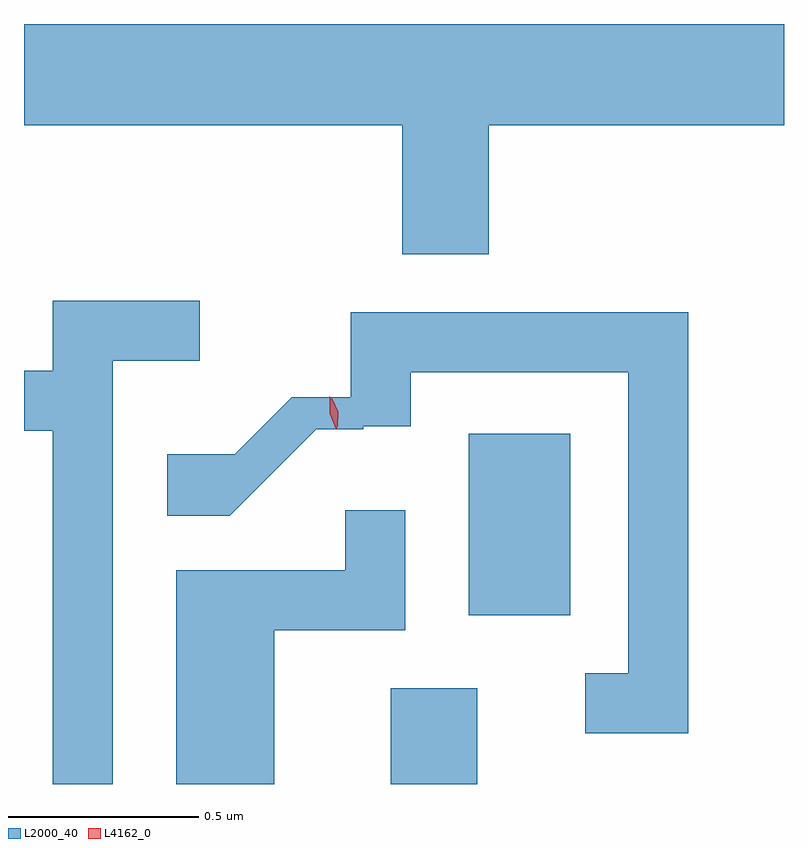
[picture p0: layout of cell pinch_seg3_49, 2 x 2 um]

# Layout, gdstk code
import gdstk
lib = gdstk.Library(unit=1e-6, precision=1e-09)
def R(c, l, rs):  # rectangles x0, y0, x1, y1
    for r in rs: c.add(gdstk.rectangle(r[:2], r[2:], *l))
def P(c, l, *ps):  # polygons
    for p in ps: c.add(gdstk.Polygon(p, *l))
L2000_40 = (2000, 40)
L4162_0 = (4162, 0)

pinch_seg3_49 = lib.new_cell('pinch_seg3_49')
R(pinch_seg3_49, L2000_40, [(1875.281,1219.742,1875.509,1219.994), (1875.486,1220.186,1875.754,1220.664)])
P(pinch_seg3_49, L2000_40, [(1875.539,1221.476),(1876.316,1221.476),(1876.316,1221.742),(1874.316,1221.742),(1874.316,1221.476),(1875.311,1221.476),(1875.311,1221.136),(1875.539,1221.136)],
  [(1874.549,1220.856),(1874.778,1220.856),(1874.778,1221.014),(1874.391,1221.014),(1874.391,1220.829),(1874.316,1220.829),(1874.316,1220.671),(1874.391,1220.671),(1874.391,1219.742),(1874.549,1219.742)],
  [(1876.064,1220.984),(1875.176,1220.984),(1875.176,1220.76),(1875.02,1220.76),(1874.87,1220.61),(1874.693,1220.61),(1874.693,1220.448),(1874.857,1220.448),(1875.085,1220.676),(1875.209,1220.676),(1875.209,1220.684),(1875.334,1220.684),(1875.334,1220.826),(1875.906,1220.826),(1875.906,1220.034),(1875.793,1220.034),(1875.793,1219.876),(1876.064,1219.876)],
  [(1874.974,1220.146),(1875.319,1220.146),(1875.319,1220.463),(1875.161,1220.463),(1875.161,1220.304),(1874.716,1220.304),(1874.716,1219.742),(1874.974,1219.742)])
P(pinch_seg3_49, L4162_0, [(1875.138,1220.676),(1875.12,1220.717),(1875.12,1220.761),(1875.121,1220.762),(1875.121,1220.761),(1875.14,1220.721),(1875.139,1220.676),(1875.139,1220.676)],
  [(1875.14,1220.682),(1875.14,1220.682),(1875.124,1220.718),(1875.126,1220.756),(1875.126,1220.757),(1875.127,1220.756),(1875.143,1220.721),(1875.141,1220.682)])

lib.write_gds('pinch_seg3_49.gds')
